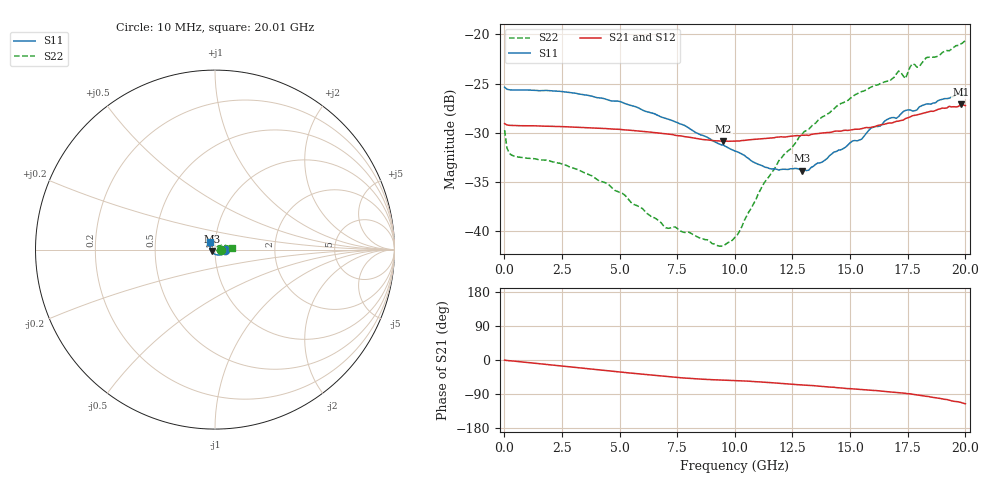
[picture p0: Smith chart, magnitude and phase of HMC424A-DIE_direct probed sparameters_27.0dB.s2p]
!s2p File: Measurements: S11, S21, S12, S22
# GHz S dB R 50.0
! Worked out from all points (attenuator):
!   201 points, 10 MHz to 20.01 GHz, reference 50 ohm
!   highest |S21| = -27.10 dB at 19.81 GHz (marker M1); lowest = -30.9 dB at 9.51 GHz (marker M2)
!   lowest |S11| = -33.8 dB at 12.91 GHz (marker M3), VSWR 1.04, Z = 48.2 - j0.786 ohm
!   |S11| at or under -10 dB: start of sweep to end of sweep
!   |S22| runs from -41.5 to -20.6 dB; largest |S21 - S12| = 0.00038
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0.01  -25.36 -0.1  -29.06 -0.4  -29.06 -0.5  -29.72 -3.5
0.11  -25.57 -1.5  -29.19 -1.3  -29.18 -1.2  -31.52 -8.4
0.31  -25.64 -2.4  -29.24 -2.3  -29.24 -2.3  -32.25 -6.5
3.41  -26.12 -23.8  -29.45 -21.8  -29.45 -21.8  -33.97 -24.6
5.11  -26.89 -38.0  -29.67 -32.2  -29.66 -32.2  -36.12 -31.4
6.71  -28.28 -51.8  -30.02 -41.8  -30.02 -41.7  -38.92 -24.4
7.01  -28.52 -54.4  -30.09 -43.5  -30.09 -43.4  -39.63 -21.1
7.41  -28.87 -58.4  -30.24 -45.8  -30.23 -45.8  -39.54 -17.1
9.51  -31.25 -84.4  -30.86 -53.1  -30.85 -53.1  -41.45 16.7
10.01  -31.84 -92.0  -30.83 -54.4  -30.84 -54.2  -40.59 31.9
11.31  -33.48 -117.9  -30.57 -58.8  -30.57 -58.7  -34.95 51.1
12.91  -33.82 -156.4  -30.23 -65.8  -30.22 -65.7  -30.17 45.2
13.41  -33.39 -168.2  -30.12 -67.6  -30.13 -67.6  -29.12 41.8
15.21  -30.77 158.3  -29.63 -76.8  -29.63 -76.7  -26.14 29.8
16.71  -28.53 138.3  -28.99 -84.2  -28.97 -84.2  -24.77 21.6
17.11  -28.34 136.4  -28.80 -86.4  -28.71 -86.4  -23.73 19.3
17.41  -27.72 133.2  -28.54 -87.8  -28.56 -88.2  -24.48 18.8
17.71  -27.77 129.2  -28.26 -90.3  -28.31 -90.6  -22.99 17.0
18.01  -27.36 127.9  -28.11 -93.0  -28.14 -92.8  -23.28 16.2
18.31  -27.07 123.9  -27.93 -95.9  -27.96 -95.7  -22.37 15.3
19.81  -26.13 119.8  -27.10 -111.8  -27.10 -111.7  -20.99 7.8
20.01  -26.16 121.6  -27.23 -115.5  -27.20 -115.4  -20.62 7.0
